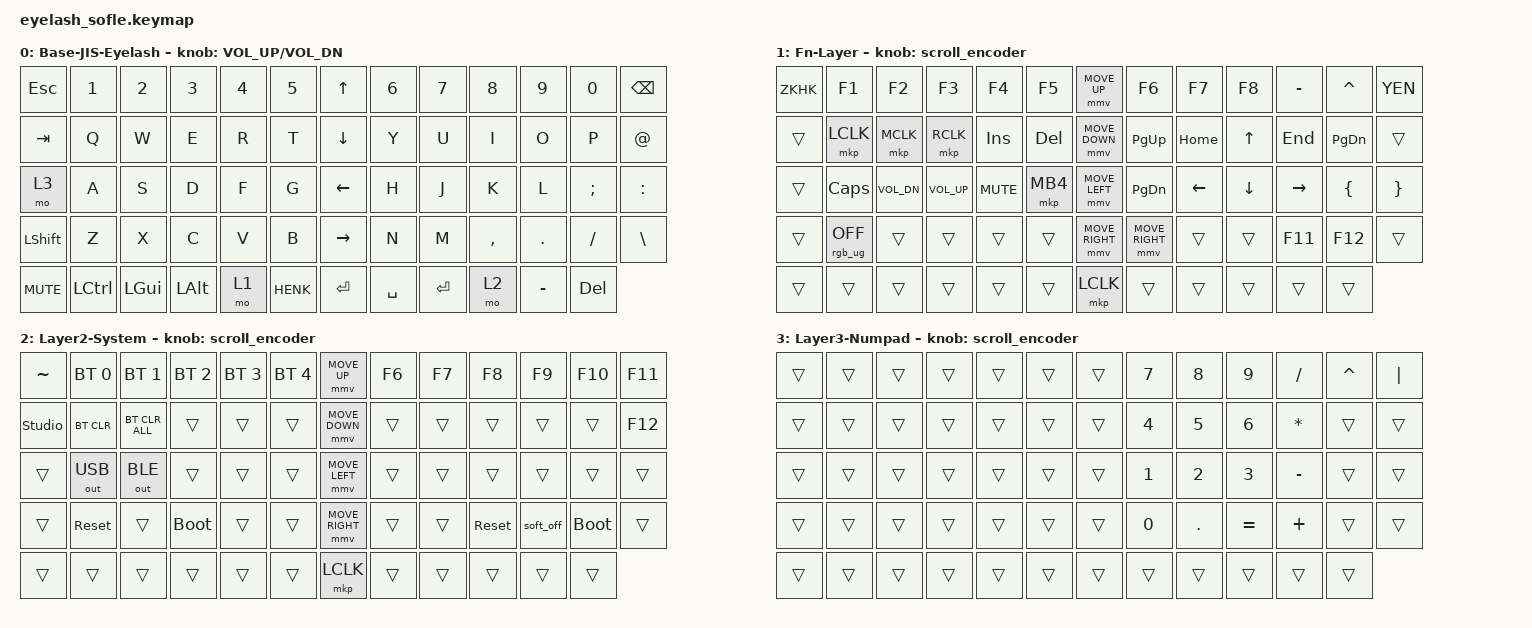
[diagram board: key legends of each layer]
#include <behaviors.dtsi>
#include <dt-bindings/zmk/bt.h>
#include <dt-bindings/zmk/keys.h>
#include <dt-bindings/zmk/mouse.h>
#include <dt-bindings/zmk/outputs.h>
#include <dt-bindings/zmk/rgb.h>

#include <input/processors.dtsi>

/*

   &mmv_input_listener {
       input-processors = <&zip_xy_scaler 2 1>;
   };

   &msc_input_listener {
       input-processors = <&zip_xy_scaler 2 1>;
   };

 */

#define ZMK_MOUSE_DEFAULT_MOVE_VAL 1200  // 600
#define ZMK_MOUSE_DEFAULT_SCRL_VAL 20    // 10


/ {
    behaviors {
        mmv {
            acceleration-exponent = <1>;      // 1
            time-to-max-speed-ms = <900>;    // 40
            delay-ms = <0>;                   // 0
        };

        msc {
            acceleration-exponent = <1>;      // 0
            time-to-max-speed-ms = <400>;      // 500
            delay-ms = <0>;                   //   10
        };
    };

    scroll_encoder: scroll_encoder {
        compatible = "zmk,behavior-sensor-rotate";
        #sensor-binding-cells = <0>;
        bindings = <&msc SCRL_DOWN &msc SCRL_UP>;

        tap-ms = <30>;
    };

    keymap {
        compatible = "zmk,keymap";

        layer_0 {
            display-name = "Base-JIS-Eyelash";
            bindings = <
                &kp ESC       &kp N1       &kp N2        &kp N3        &kp N4       &kp N5       &kp UP_ARROW     &kp N6       &kp N7       &kp N8       &kp N9           &kp N0        &kp BACKSPACE
                &kp TAB       &kp Q        &kp W         &kp E         &kp R        &kp T        &kp DOWN_ARROW   &kp Y        &kp U        &kp I        &kp O            &kp P         &kp AT
                &mo 3         &kp A        &kp S         &kp D         &kp F        &kp G        &kp LEFT_ARROW   &kp H        &kp J        &kp K        &kp L            &kp SEMI      &kp COLON
                &kp LSHFT     &kp Z        &kp X         &kp C         &kp V        &kp B        &kp RIGHT_ARROW  &kp N        &kp M        &kp COMMA    &kp DOT          &kp SLASH     &kp BSLH
                &kp C_MUTE    &kp LCTRL    &kp LEFT_GUI  &kp LEFT_ALT  &mo 1        &kp HENK     &kp ENTER        &kp SPACE    &kp ENTER    &mo 2        &kp MINUS        &kp DELETE
            >;
            sensor-bindings = <&inc_dec_kp C_VOLUME_UP C_VOL_DN>;
        };

        layer_1 {
            display-name = "Fn-Layer";
            bindings = <
                &kp ZKHK     &kp F1      &kp F2      &kp F3      &kp F4      &kp F5       &mmv MOVE_UP     &kp F6      &kp F7      &kp F8      &kp MINUS   &kp CARET     &kp YEN
                &trans       &mkp LCLK   &mkp MCLK   &mkp RCLK   &kp INS     &kp DEL      &mmv MOVE_DOWN   &kp PG_UP   &kp HOME    &kp UP      &kp END     &kp PG_DN   &trans
                &trans       &kp CAPS    &kp VOL_DN  &kp VOL_UP  &kp MUTE    &mkp MB4     &mmv MOVE_LEFT   &kp PG_DN   &kp LEFT    &kp DOWN    &kp RIGHT   &kp LBRC    &kp RBRC
                &trans       &rgb_ug RGB_OFF &trans  &trans      &trans      &trans       &mmv MOVE_RIGHT  &mmv MOVE_RIGHT  &trans     &trans     &kp F11     &kp F12     &trans
                &trans       &trans     &trans     &trans     &trans     &trans     &mkp LCLK    &trans     &trans     &trans     &trans     &trans
            >;
            sensor-bindings = <&scroll_encoder>;
        };

        layer_2 {
            display-name = "Layer2-System";
            bindings = <
                &kp TILDE     &bt BT_SEL 0   &bt BT_SEL 1   &bt BT_SEL 2   &bt BT_SEL 3   &bt BT_SEL 4   &mmv MOVE_UP     &kp F6       &kp F7       &kp F8      &kp F9      &kp F10     &kp F11
                &studio_unlock &bt BT_CLR     &bt BT_CLR_ALL &trans         &trans         &trans         &mmv MOVE_DOWN   &trans       &trans       &trans     &trans     &trans   &kp F12
                &trans        &out OUT_USB   &out OUT_BLE   &trans         &trans         &trans         &mmv MOVE_LEFT   &trans       &trans       &trans      &trans      &trans   &trans
                &trans        &sys_reset     &trans         &bootloader    &trans         &trans         &mmv MOVE_RIGHT  &trans       &trans       &sys_reset  &soft_off   &bootloader &trans
                &trans        &trans         &trans         &trans         &trans         &trans         &mkp LCLK        &trans       &trans       &trans      &trans      &trans
            >;
            sensor-bindings = <&scroll_encoder>;
        };

        layer_3 {
            display-name = "Layer3-Numpad";
            bindings = <
                &trans &trans &trans &trans     &trans     &trans     &trans      &kp N7     &kp N8     &kp N9     &kp SLASH     &kp CARET      &kp PIPE
                &trans &trans &trans &trans     &trans     &trans     &trans      &kp N4     &kp N5     &kp N6     &kp ASTERISK  &trans      &trans
                &trans &trans &trans &trans     &trans     &trans     &trans      &kp N1     &kp N2     &kp N3     &kp MINUS     &trans      &trans
                &trans &trans &trans &trans     &trans     &trans     &trans      &kp N0     &kp DOT    &kp EQUAL  &kp PLUS      &trans      &trans
                &trans &trans &trans &trans     &trans     &trans     &trans      &trans     &trans     &trans     &trans        &trans     
            >;
            sensor-bindings = <&scroll_encoder>;
        };
    };
};
